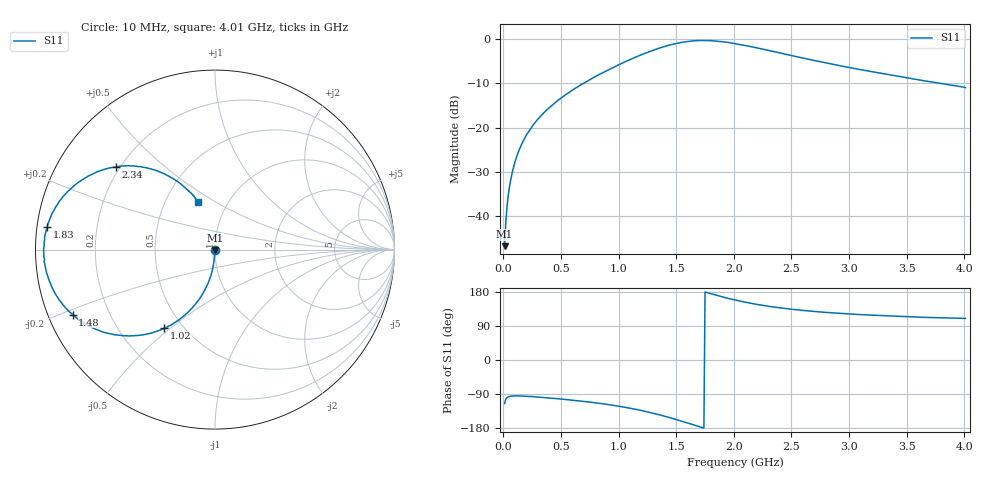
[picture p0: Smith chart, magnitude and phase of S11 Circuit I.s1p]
! TTR506A,Tektronix,B010426,Application version 2.0.1.4ead5a2e Firmware version 066185400
! Freq ReS11 ImS11
# HZ S RI R 50
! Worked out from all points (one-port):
!   401 points, 10 MHz to 4.01 GHz, reference 50 ohm
!   lowest |S11| = -46.7 dB at 10 MHz (marker M1), VSWR 1.01, Z = 49.8 - j0.419 ohm
!   |S11| at or under -10 dB: start of sweep to 697.7 MHz; 3.782 GHz to end of sweep
!   S11 on the Smith chart (normalised r, x): 10 MHz: 1.00, -0.01; 1.02 GHz: 0.40, -0.48; 1.48 GHz: 0.07, -0.22; 1.83 GHz: 0.03, +0.07; 2.34 GHz: 0.18, +0.35; 4.01 GHz: 0.73, +0.42
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1e7  -0.00194 -0.0042
2e7  -0.00203 -0.00819
4e7  -0.00222 -0.0165
6e7  -0.00243 -0.0246
9e7  -0.00332 -0.0368
1.4e8  -0.0048 -0.0573
2e8  -0.00852 -0.0824
2.8e8  -0.0151 -0.115
3.9e8  -0.0291 -0.1615
5.1e8  -0.0503 -0.2133
7.7e8  -0.1333 -0.3317
1.01e9  -0.2763 -0.4354
1.02e9  -0.2838 -0.438
1.15e9  -0.402 -0.4753
1.27e9  -0.5353 -0.4768
1.38e9  -0.6734 -0.4398
1.48e9  -0.7926 -0.3627
1.51e9  -0.8251 -0.332
1.68e9  -0.9448 -0.1002
1.83e9  -0.935 0.1253
2.01e9  -0.8182 0.3255
2.16e9  -0.6918 0.4167
2.34e9  -0.5511 0.4616
2.51e9  -0.4432 0.4645
2.72e9  -0.3415 0.4452
3.01e9  -0.2459 0.4018
3.51e9  -0.1504 0.3298
4.01e9  -0.0949 0.2647
